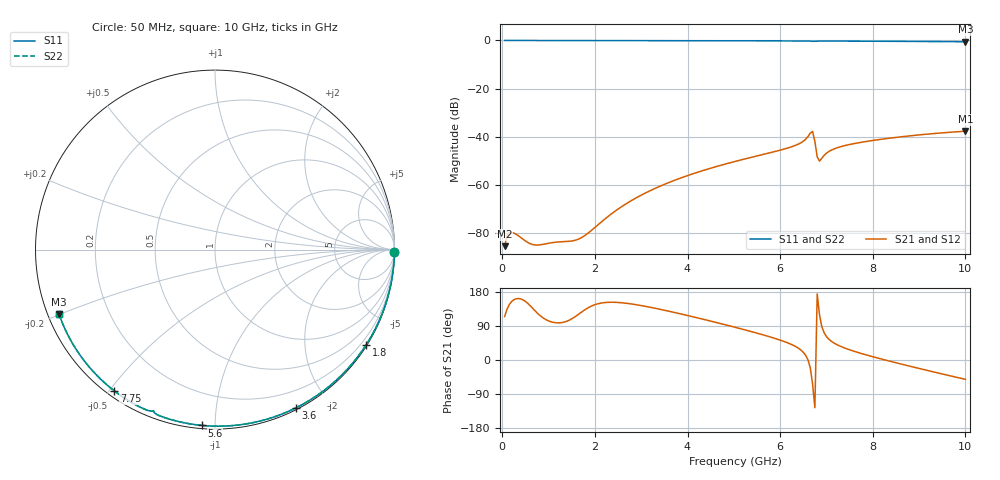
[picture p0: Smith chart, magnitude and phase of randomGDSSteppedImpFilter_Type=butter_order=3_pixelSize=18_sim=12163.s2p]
! freq	dB(S11)	phase(S11)	dB(S12)	phase(S12)
!  dB(S21)	phase(S21)	dB(S22)	phase(S22)
!S-par simulation data
#  GHz  S  DB  R 50
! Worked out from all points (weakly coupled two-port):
!   200 points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, 50 MHz to 10 GHz, reference 50 ohm
!   highest |S21| = -37.63 dB at 10 GHz (marker M1); lowest = -85.3 dB at 50 MHz (marker M2)
!   lowest |S11| = -0.5 dB at 10 GHz (marker M3), VSWR 32.64, Z = 1.59 - j9.94 ohm
!   |S11| at or under -10 dB: nowhere
!   |S22| runs from -0.5 to 0.0 dB; largest |S21 - S12| = 0
!   S11 on the Smith chart (normalised r, x): 50 MHz: open; 1.8 GHz: 0.03, -3.45; 3.6 GHz: 0.02, -1.63; 5.6 GHz: 0.02, -0.93; 7.75 GHz: 0.02, -0.52; 10 GHz: 0.03, -0.20
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0.05  -0.00 -0.9  -85.30 114.6  -85.30 114.6  -0.00 -0.9
0.9  -0.02 -16.3  -84.47 109.5  -84.47 109.5  -0.02 -16.3
1.75  -0.04 -31.4  -81.31 129.8  -81.31 129.8  -0.04 -31.4
1.8  -0.04 -32.3  -80.66 133.9  -80.66 133.9  -0.04 -32.3
1.85  -0.04 -33.2  -79.94 137.6  -79.94 137.6  -0.04 -33.2
2.3  -0.05 -41.0  -72.74 152.3  -72.74 152.3  -0.05 -41.0
2.65  -0.06 -47.0  -68.00 150.1  -68.00 150.1  -0.06 -47.0
3.4  -0.08 -59.6  -60.48 134.0  -60.48 134.0  -0.08 -59.6
3.6  -0.08 -62.9  -58.88 128.7  -58.88 128.7  -0.08 -62.9
5.05  -0.13 -86.0  -50.04 85.6  -50.04 85.6  -0.13 -86.0
5.6  -0.16 -94.3  -47.41 67.5  -47.41 67.5  -0.16 -94.3
6.4  -0.20 -106.3  -42.91 30.7  -42.91 30.7  -0.20 -106.3
6.55  -0.21 -108.6  -40.96 12.6  -40.96 12.6  -0.21 -108.6
6.7  -0.35 -110.9  -37.72 -63.3  -37.72 -63.3  -0.35 -110.9
6.75  -0.34 -110.9  -41.90 -125.7  -41.90 -125.7  -0.34 -110.9
6.8  -0.28 -111.6  -48.27 174.4  -48.27 174.4  -0.28 -111.6
6.85  -0.26 -112.3  -50.03 118.8  -50.03 118.8  -0.26 -112.3
7  -0.25 -114.6  -46.74 61.9  -46.74 61.9  -0.25 -114.6
7.15  -0.25 -116.9  -45.08 45.7  -45.08 45.7  -0.25 -116.9
7.75  -0.29 -125.5  -42.22 17.3  -42.22 17.3  -0.29 -125.5
8.35  -0.35 -134.0  -40.55 -2.6  -40.55 -2.6  -0.35 -134.0
10  -0.53 -157.5  -37.63 -51.0  -37.63 -51.0  -0.53 -157.5
